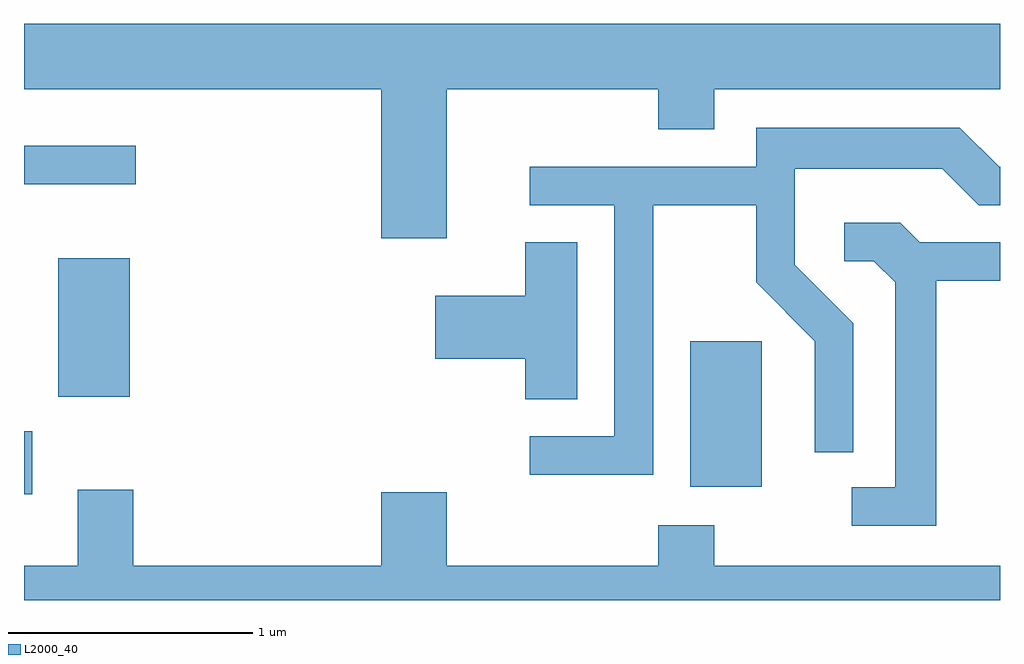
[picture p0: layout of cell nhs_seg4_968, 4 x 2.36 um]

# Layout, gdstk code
import gdstk
lib = gdstk.Library(unit=1e-6, precision=1e-09)
def R(c, l, rs):  # rectangles x0, y0, x1, y1
    for r in rs: c.add(gdstk.rectangle(r[:2], r[2:], *l))
def P(c, l, *ps):  # polygons
    for p in ps: c.add(gdstk.Polygon(p, *l))
L2000_40 = (2000, 40)

nhs_seg4_968 = lib.new_cell('nhs_seg4_968')
R(nhs_seg4_968, L2000_40, [(213.611,1286.416,213.644,1286.674), (216.341,1286.446,216.634,1287.044), (213.751,1286.816,214.044,1287.384), (213.611,1287.686,214.068,1287.844)])
P(nhs_seg4_968, L2000_40, [(215.344,1288.076),(216.211,1288.076),(216.211,1287.911),(216.439,1287.911),(216.439,1288.076),(217.611,1288.076),(217.611,1288.344),(213.611,1288.344),(213.611,1288.076),(215.076,1288.076),(215.076,1287.466),(215.344,1287.466)],
  [(216.189,1287.601),(216.611,1287.601),(216.611,1287.284),(216.851,1287.044),(216.851,1286.588),(217.009,1286.588),(217.009,1287.117),(216.769,1287.357),(216.769,1287.751),(217.374,1287.751),(217.524,1287.601),(217.611,1287.601),(217.611,1287.759),(217.607,1287.759),(217.447,1287.919),(216.611,1287.919),(216.611,1287.759),(215.683,1287.759),(215.683,1287.601),(216.031,1287.601),(216.031,1286.654),(215.683,1286.654),(215.683,1286.496),(216.189,1286.496)],
  [(217.349,1287.291),(217.611,1287.291),(217.611,1287.449),(217.282,1287.449),(217.202,1287.529),(216.973,1287.529),(216.973,1287.371),(217.094,1287.371),(217.181,1287.284),(217.181,1286.444),(217.003,1286.444),(217.003,1286.286),(217.349,1286.286)],
  [(215.879,1287.449),(215.666,1287.449),(215.666,1287.229),(215.296,1287.229),(215.296,1286.971),(215.666,1286.971),(215.666,1286.806),(215.879,1286.806)],
  [(217.611,1286.124),(216.439,1286.124),(216.439,1286.289),(216.211,1286.289),(216.211,1286.124),(215.344,1286.124),(215.344,1286.424),(215.076,1286.424),(215.076,1286.124),(214.059,1286.124),(214.059,1286.434),(213.831,1286.434),(213.831,1286.124),(213.611,1286.124),(213.611,1285.982),(217.611,1285.982)])

lib.write_gds('nhs_seg4_968.gds')
